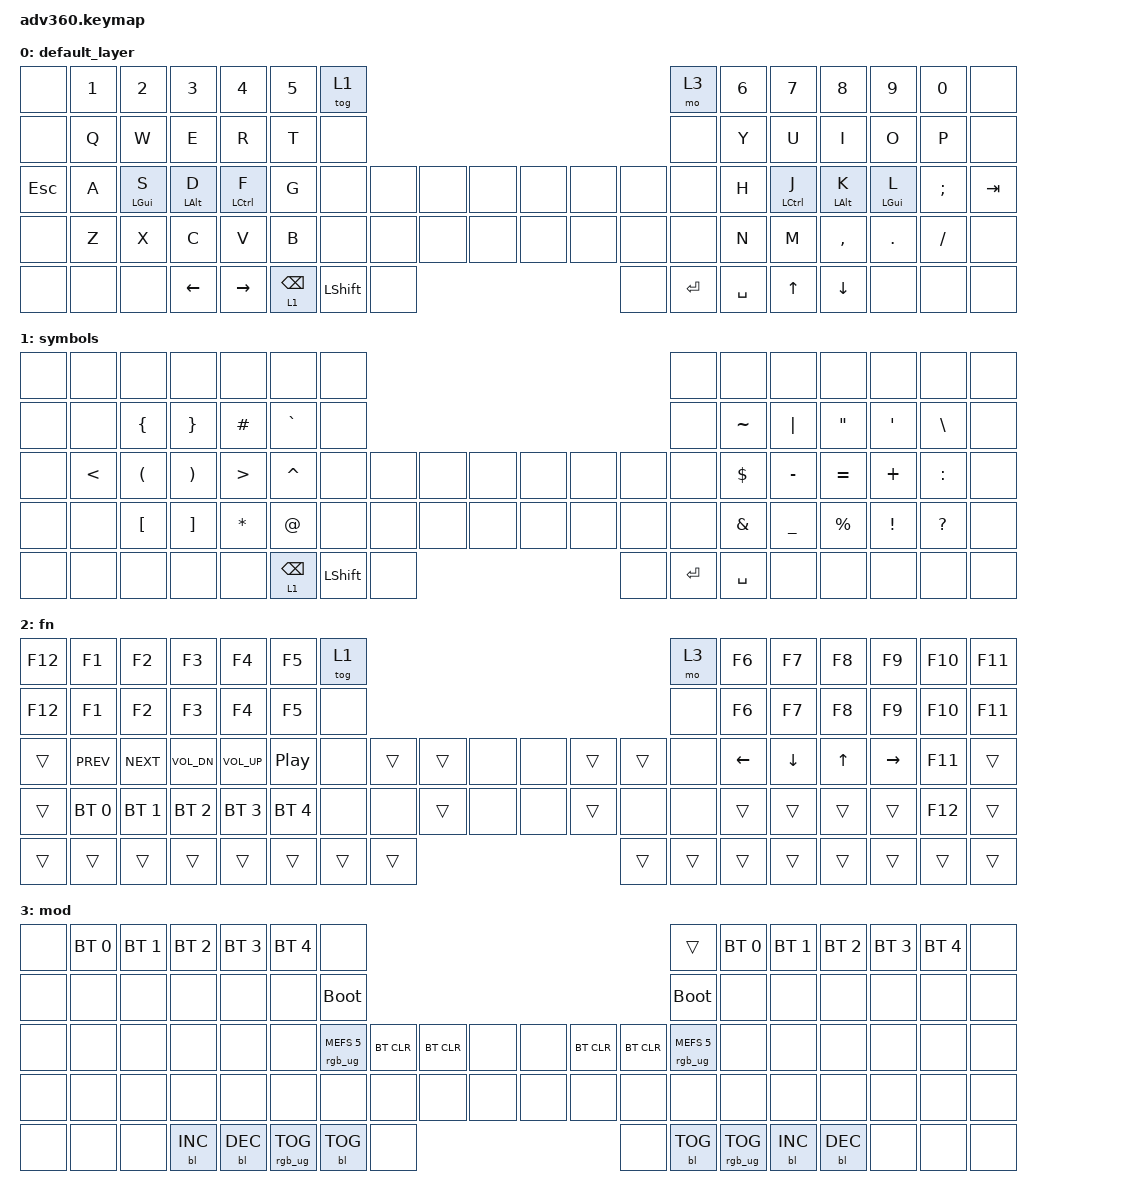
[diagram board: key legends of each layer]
#include <behaviors.dtsi>
#include <dt-bindings/zmk/keys.h>
#include <dt-bindings/zmk/bt.h>
#include <dt-bindings/zmk/rgb.h>
#include <dt-bindings/zmk/backlight.h>

/ {
    behaviors {
      #include "macros.dtsi"

      bhm: homerow_mods {
          compatible = "zmk,behavior-hold-tap";
          label = "HOMEROW_MODS";
          #binding-cells = <2>;
          tapping-term-ms = <170>;
          flavor = "tap-preferred";
          bindings = <&kp>, <&kp>;
      };

      shm: shift_hr_mod {
          compatible = "zmk,behavior-hold-tap";
          label = "SHIFT_HOMEROW_MODS";
          #binding-cells = <2>;
          tapping-term-ms = <120>;
          flavor = "tap-preferred";
          bindings = <&kp>, <&kp>;
      };
    };

  keymap {
    compatible = "zmk,keymap";
    default_layer {
      bindings = <
        &none   &kp N1 &kp N2      &kp N3      &kp N4       &kp N5 &tog 1                                                        &mo 3  &kp N6 &kp N7       &kp N8      &kp N9      &kp N0   &none
        &none   &kp Q  &kp W       &kp E       &kp R        &kp T  &none                                                         &none  &kp Y  &kp U        &kp I       &kp O       &kp P    &none
        &kp ESC &kp A  &bhm LGUI S &bhm LALT D &bhm LCTRL F &kp G  &none           &none &none &none &none &none &none           &none  &kp H  &bhm LCTRL J &bhm LALT K &bhm LGUI L &kp SEMI &kp TAB
        &none   &kp Z  &kp X       &kp C       &kp V        &kp B            &none &none &none &none &none &none &none &none            &kp N  &kp M        &kp COMMA   &kp DOT     &kp FSLH &none
        &none   &none  &none       &kp LEFT    &kp RIGHT                  &lt 1 BSPC &kp LSHFT &none &none &kp ENTER &kp SPACE                 &kp UP       &kp DOWN    &none       &none    &none
      >;
    };
    symbols {
      bindings = <
        &none &none  &none    &none    &none    &none     &none                                                        &none &none      &none     &none       &none    &none        &none
        &none &none  &kp LBRC &kp RBRC &kp HASH &kp GRAVE &none                                                        &none &kp TILDE  &kp PIPE  &kp DQT     &kp SQT  &kp BSLH     &none
        &none &kp LT &kp LPAR &kp RPAR &kp GT   &kp CARET &none           &none &none &none &none &none &none          &none &kp DOLLAR &kp MINUS &kp EQUAL   &kp PLUS &kp COLON    &none
        &none &none  &kp LBKT &kp RBKT &kp STAR &kp AT              &none &none &none &none &none &none &none &none          &kp AMPS   &kp UNDER &kp PERCENT &kp EXCL &kp QUESTION &none
        &none &none  &none    &none    &none                    &lt 1 BSPC &kp LSHFT &none &none &kp ENTER &kp SPACE                    &none     &none       &none    &none        &none
      >;
    };
    fn {
      bindings = <
        &kp F12 &kp F1 &kp F2 &kp F3 &kp F4 &kp F5 &tog 1                                                       &mo 3 &kp F6 &kp F7 &kp F8 &kp F9 &kp F10 &kp F11
        &kp F12 &kp F1 &kp F2 &kp F3 &kp F4 &kp F5 &none                                                       &none  &kp F6 &kp F7 &kp F8 &kp F9 &kp F10 &kp F11
        &trans &kp C_PREV  &kp C_NEXT   &kp C_VOL_DN &kp C_VOL_UP &kp C_PP &none   &trans &trans &none &none &trans &trans &none  &kp LEFT &kp DOWN &kp UP &kp RIGHT &kp F11 &trans
        &trans &bt BT_SEL 0 &bt BT_SEL 1 &bt BT_SEL 2 &bt BT_SEL 3 &bt BT_SEL 4       &none  &none  &trans &none &none &trans &none  &none        &trans &trans &trans &trans  &kp F12  &trans
        &trans &trans &trans &trans &trans               &trans &trans &trans             &trans &trans &trans              &trans &trans &trans  &trans  &trans
      >;
    };
    mod {
      bindings = <
        &none &bt BT_SEL 0 &bt BT_SEL 1 &bt BT_SEL 2 &bt BT_SEL 3 &bt BT_SEL 4 &none                                                                                                          &trans                 &bt BT_SEL 0 &bt BT_SEL 1 &bt BT_SEL 2 &bt BT_SEL 3 &bt BT_SEL 4 &none
        &none &none        &none        &none        &none        &none        &bootloader                                                                                                    &bootloader            &none        &none        &none        &none        &none        &none
        &none &none        &none        &none        &none        &none        &rgb_ug RGB_MEFS_CMD 5                 &bt BT_CLR &bt BT_CLR &none &none &bt BT_CLR &bt BT_CLR                 &rgb_ug RGB_MEFS_CMD 5 &none        &none        &none        &none        &none        &none
        &none &none        &none        &none        &none        &none                               &none           &none      &none      &none &none &none      &none      &none                                  &none        &none        &none        &none        &none        &none
        &none &none        &none        &bl BL_INC   &bl BL_DEC                                       &rgb_ug RGB_TOG &bl BL_TOG &none                  &none      &bl BL_TOG &rgb_ug RGB_TOG                                     &bl BL_INC   &bl BL_DEC   &none        &none        &none
      >;
    };
  };
};
